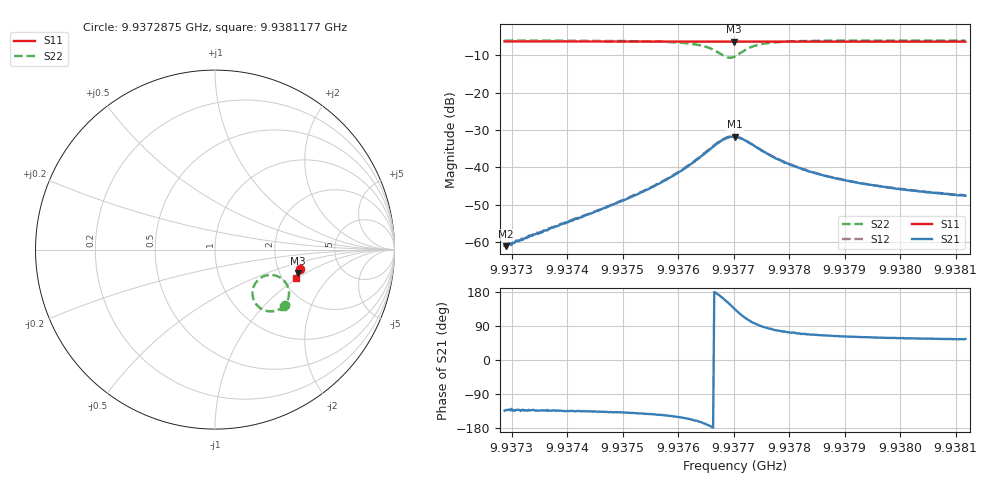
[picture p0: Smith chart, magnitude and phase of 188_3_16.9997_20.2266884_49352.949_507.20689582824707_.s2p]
#  HZ  S  RI  R  50.00
! Rohde & Schwarz Vector Network Analyzer
! Rohde-Schwarz,ZNB20-2Port,1311601062101988,3.16
! Created: UTC 3/20/2024, 11:00:27 PM
! freq[Hz]  re:S11  im:S11  re:S21  im:S21  re:S12  im:S12  re:S22  im:S22
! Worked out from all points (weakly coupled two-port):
!   401 points, 9.9372875 GHz to 9.9381177 GHz, reference 50 ohm
!   highest |S21| = -31.83 dB at 9.9377026 GHz (marker M1); lowest = -61.1 dB at 9.9372896 GHz (marker M2)
!   lowest |S11| = -6.4 dB at 9.9377005 GHz (marker M3), VSWR 2.84, Z = 125 - j42.5 ohm
!   |S11| at or under -10 dB: nowhere
!   |S22| runs from -10.7 to -6.0 dB; largest |S21 - S12| = 0.0012
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9.93728752e9  0.4718 -0.1055  -0.000617 -0.000641  -0.000629 -0.000703  0.3897 -0.3097
9.9372896e9  0.4719 -0.1057  -0.000589 -0.000657  -0.000638 -0.000671  0.3896 -0.3101
9.93729583e9  0.4716 -0.1062  -0.000613 -0.000711  -0.000637 -0.000693  0.389 -0.3104
9.93742657e9  0.469 -0.1151  -0.00153 -0.00149  -0.00159 -0.00154  0.3745 -0.3225
9.93750544e9  0.4672 -0.1204  -0.00279 -0.00246  -0.00291 -0.00244  0.3595 -0.3319
9.93756562e9  0.4658 -0.1245  -0.00491 -0.00349  -0.00507 -0.00349  0.3381 -0.3406
9.93761128e9  0.4642 -0.1277  -0.00853 -0.00438  -0.00878 -0.00428  0.306 -0.3445
9.93765071e9  0.4626 -0.1303  -0.0157 -0.00288  -0.016 -0.00262  0.2493 -0.3243
9.93766524e9  0.4617 -0.1309  -0.0193 0.000261  -0.0198 0.000729  0.2228 -0.2944
9.93767977e9  0.4609 -0.1312  -0.0223 0.00621  -0.0225 0.00706  0.2087 -0.2414
9.93769015e9  0.4606 -0.1312  -0.0219 0.0121  -0.0219 0.0131  0.221 -0.1947
9.93770052e9  0.4606 -0.1311  -0.0185 0.0176  -0.0183 0.0186  0.2562 -0.1569
9.9377026e9  0.4606 -0.1313  -0.0176 0.0186  -0.0173 0.0195  0.2648 -0.152
9.93771298e9  0.4609 -0.1316  -0.0122 0.021  -0.0117 0.0216  0.3113 -0.1412
9.9377275e9  0.4615 -0.1322  -0.00548 0.0206  -0.005 0.021  0.3628 -0.1556
9.93775033e9  0.4617 -0.1341  0.000273 0.0167  0.000573 0.017  0.4005 -0.196
9.93778976e9  0.4613 -0.1372  0.00316 0.0113  0.00328 0.0116  0.4121 -0.2441
9.93784165e9  0.46 -0.141  0.00338 0.00793  0.00355 0.00789  0.4074 -0.275
9.93791221e9  0.4584 -0.1459  0.00308 0.00563  0.00324 0.00564  0.3985 -0.2956
9.9379807e9  0.4566 -0.1504  0.00282 0.00453  0.00292 0.00453  0.3915 -0.3074
9.93804711e9  0.4551 -0.1546  0.00259 0.00386  0.00267 0.00386  0.3855 -0.3154
9.93811767e9  0.4531 -0.1592  0.00236 0.00344  0.00249 0.00341  0.38 -0.3222
